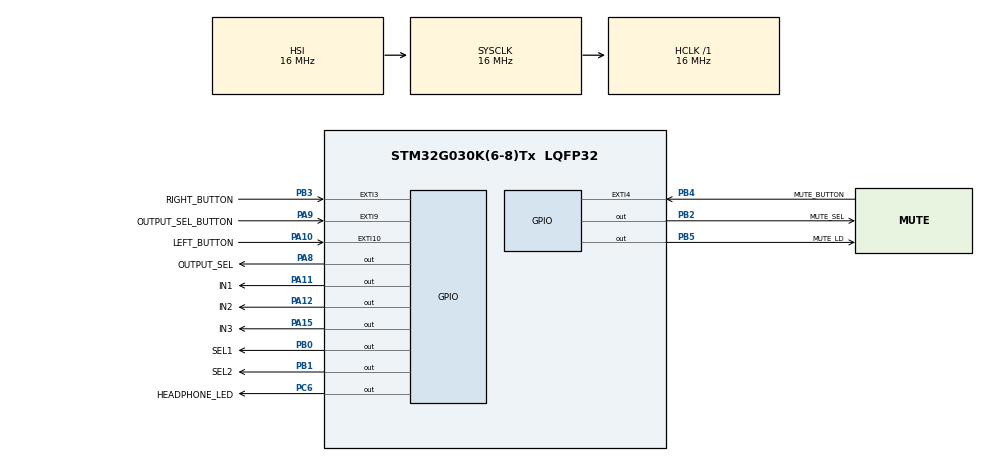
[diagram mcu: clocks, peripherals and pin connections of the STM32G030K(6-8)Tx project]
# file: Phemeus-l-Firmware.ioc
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Mcu.Family=STM32G0
Mcu.Name=STM32G030K(6-8)Tx
Mcu.Package=LQFP32
NVIC.EXTI2_3_IRQn=true\:0\:0\:false\:false\:true\:true\:true\:true
NVIC.EXTI4_15_IRQn=true\:0\:0\:false\:false\:true\:true\:true\:true
PA10.GPIO_Label=LEFT_BUTTON
PA10.GPIO_ModeDefaultEXTI=GPIO_MODE_IT_FALLING
PA10.GPIO_PuPd=GPIO_PULLUP
PA10.Signal=GPXTI10
PA11\ [PA9].GPIO_Label=IN1
PA11\ [PA9].Signal=GPIO_Output
PA12\ [PA10].GPIO_Label=IN2
PA12\ [PA10].Signal=GPIO_Output
PA13.Mode=Serial_Wire
PA13.Signal=SYS_SWDIO
PA14-BOOT0.Mode=Serial_Wire
PA14-BOOT0.Signal=SYS_SWCLK
PA15.GPIO_Label=IN3
PA15.Signal=GPIO_Output
PA8.GPIO_Label=OUTPUT_SEL
PA8.Signal=GPIO_Output
PA9.GPIO_Label=OUTPUT_SEL_BUTTON
PA9.GPIO_ModeDefaultEXTI=GPIO_MODE_IT_FALLING
PA9.GPIO_PuPd=GPIO_PULLUP
PA9.Signal=GPXTI9
PB0.GPIO_Label=SEL1
PB0.Signal=GPIO_Output
PB1.GPIO_Label=SEL2
PB1.Signal=GPIO_Output
PB2.GPIO_Label=MUTE_SEL
PB2.Signal=GPIO_Output
PB3.GPIO_Label=RIGHT_BUTTON
PB3.GPIO_ModeDefaultEXTI=GPIO_MODE_IT_FALLING
PB3.GPIO_PuPd=GPIO_PULLUP
PB3.Signal=GPXTI3
PB4.GPIO_Label=MUTE_BUTTON
PB4.GPIO_ModeDefaultEXTI=GPIO_MODE_IT_FALLING
PB4.GPIO_PuPd=GPIO_PULLUP
PB4.Signal=GPXTI4
PB5.GPIO_Label=MUTE_LD
PB5.Signal=GPIO_Output
PC6.GPIO_Label=HEADPHONE_LED
PC6.Signal=GPIO_Output
ProjectManager.HeapSize=0x200
ProjectManager.StackSize=0x400
ProjectManager.TargetToolchain=STM32CubeIDE
RCC.AHBFreq_Value=16000000
RCC.CortexFreq_Value=16000000
RCC.EXTERNAL_CLOCK_VALUE=12288000
RCC.HCLKFreq_Value=16000000
RCC.HSE_VALUE=8000000
RCC.HSI_VALUE=16000000
RCC.LSE_VALUE=32768
RCC.SYSCLKFreq_VALUE=16000000
RCC.VCOOutputFreq_Value=128000000
board=custom

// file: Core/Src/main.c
/* USER CODE BEGIN Header */
/**
  ******************************************************************************
  * @file           : main.c
  * @brief          : Main program body
  ******************************************************************************
  * @attention
  *
  * Copyright (c) 2024 STMicroelectronics.
  * All rights reserved.
  *
  * This software is licensed under terms that can be found in the LICENSE file
  * in the root directory of this software component.
  * If no LICENSE file comes with this software, it is provided AS-IS.
  *
  ******************************************************************************
  */
/* USER CODE END Header */
#include "main.h"

void SystemClock_Config(void);
static void MX_GPIO_Init(void);
/* USER CODE BEGIN PFP */
void set_input();
void set_output();
void set_mute();
void get_setting_from_flash();
void save_setting_to_flash();
/* USER CODE END PFP */

/* USER CODE BEGIN 0 */
uint8_t output, mute, init, change= 0;
uint8_t input = 1;

/* USER CODE END 0 */

int main(void)
{

  /* MCU Configuration--------------------------------------------------------*/

  /* Reset of all peripherals, Initializes the Flash interface and the Systick. */
  HAL_Init();

  /* Configure the system clock */
  SystemClock_Config();

  /* Initialize all configured peripherals */
  MX_GPIO_Init();
  /* USER CODE BEGIN 2 */
  // Soft start relay delay
  HAL_GPIO_WritePin(MUTE_LD_GPIO_Port, MUTE_LD_Pin, GPIO_PIN_SET);
  HAL_Delay(5000);
  HAL_GPIO_WritePin(MUTE_LD_GPIO_Port, MUTE_LD_Pin, GPIO_PIN_RESET);
  HAL_GPIO_WritePin(MUTE_SEL_GPIO_Port, MUTE_SEL_Pin, GPIO_PIN_SET);
  get_setting_from_flash();
  set_input();
  set_output();

  init = 1;
  /* USER CODE END 2 */

  /* Infinite loop */
  while (1)
  {

    /* USER CODE BEGIN 3 */
	  if (change == 1){
		  HAL_Delay(250);
		  change = 0;
	  }
  }
  /* USER CODE END 3 */
}

void SystemClock_Config(void)
{
  RCC_OscInitTypeDef RCC_OscInitStruct = {0};
  RCC_ClkInitTypeDef RCC_ClkInitStruct = {0};

  /** Configure the main internal regulator output voltage
  */
  HAL_PWREx_ControlVoltageScaling(PWR_REGULATOR_VOLTAGE_SCALE1);

  /** Initializes the RCC Oscillators according to the specified parameters
  * in the RCC_OscInitTypeDef structure.
  */
  RCC_OscInitStruct.OscillatorType = RCC_OSCILLATORTYPE_HSI;
  RCC_OscInitStruct.HSIState = RCC_HSI_ON;
  RCC_OscInitStruct.HSIDiv = RCC_HSI_DIV1;
  RCC_OscInitStruct.HSICalibrationValue = RCC_HSICALIBRATION_DEFAULT;
  RCC_OscInitStruct.PLL.PLLState = RCC_PLL_NONE;
  if (HAL_RCC_OscConfig(&RCC_OscInitStruct) != HAL_OK)
  {
    Error_Handler();
  }

  /** Initializes the CPU, AHB and APB buses clocks
  */
  RCC_ClkInitStruct.ClockType = RCC_CLOCKTYPE_HCLK|RCC_CLOCKTYPE_SYSCLK
                              |RCC_CLOCKTYPE_PCLK1;
  RCC_ClkInitStruct.SYSCLKSource = RCC_SYSCLKSOURCE_HSI;
  RCC_ClkInitStruct.AHBCLKDivider = RCC_SYSCLK_DIV1;
  RCC_ClkInitStruct.APB1CLKDivider = RCC_HCLK_DIV1;

  if (HAL_RCC_ClockConfig(&RCC_ClkInitStruct, FLASH_LATENCY_0) != HAL_OK)
  {
    Error_Handler();
  }
}

static void MX_GPIO_Init(void)
{
  GPIO_InitTypeDef GPIO_InitStruct = {0};

  /* GPIO Ports Clock Enable */
  __HAL_RCC_GPIOB_CLK_ENABLE();
  __HAL_RCC_GPIOA_CLK_ENABLE();
  __HAL_RCC_GPIOC_CLK_ENABLE();

  /*Configure GPIO pin Output Level */
  HAL_GPIO_WritePin(GPIOB, SEL1_Pin|SEL2_Pin|MUTE_SEL_Pin|MUTE_LD_Pin, GPIO_PIN_RESET);

  /*Configure GPIO pin Output Level */
  HAL_GPIO_WritePin(GPIOA, OUTPUT_SEL_Pin|IN1_Pin|IN2_Pin|IN3_Pin, GPIO_PIN_RESET);

  /*Configure GPIO pin Output Level */
  HAL_GPIO_WritePin(HEADPHONE_LED_GPIO_Port, HEADPHONE_LED_Pin, GPIO_PIN_RESET);

  /*Configure GPIO pins : SEL1_Pin SEL2_Pin MUTE_SEL_Pin MUTE_LD_Pin */
  GPIO_InitStruct.Pin = SEL1_Pin|SEL2_Pin|MUTE_SEL_Pin|MUTE_LD_Pin;
  GPIO_InitStruct.Mode = GPIO_MODE_OUTPUT_PP;
  GPIO_InitStruct.Pull = GPIO_NOPULL;
  GPIO_InitStruct.Speed = GPIO_SPEED_FREQ_LOW;
  HAL_GPIO_Init(GPIOB, &GPIO_InitStruct);

  /*Configure GPIO pins : OUTPUT_SEL_Pin IN1_Pin IN2_Pin IN3_Pin */
  GPIO_InitStruct.Pin = OUTPUT_SEL_Pin|IN1_Pin|IN2_Pin|IN3_Pin;
  GPIO_InitStruct.Mode = GPIO_MODE_OUTPUT_PP;
  GPIO_InitStruct.Pull = GPIO_NOPULL;
  GPIO_InitStruct.Speed = GPIO_SPEED_FREQ_LOW;
  HAL_GPIO_Init(GPIOA, &GPIO_InitStruct);

  /*Configure GPIO pins : OUTPUT_SEL_BUTTON_Pin LEFT_BUTTON_Pin */
  GPIO_InitStruct.Pin = OUTPUT_SEL_BUTTON_Pin|LEFT_BUTTON_Pin;
  GPIO_InitStruct.Mode = GPIO_MODE_IT_FALLING;
  GPIO_InitStruct.Pull = GPIO_PULLUP;
  HAL_GPIO_Init(GPIOA, &GPIO_InitStruct);

  /*Configure GPIO pin : HEADPHONE_LED_Pin */
  GPIO_InitStruct.Pin = HEADPHONE_LED_Pin;
  GPIO_InitStruct.Mode = GPIO_MODE_OUTPUT_PP;
  GPIO_InitStruct.Pull = GPIO_NOPULL;
  GPIO_InitStruct.Speed = GPIO_SPEED_FREQ_LOW;
  HAL_GPIO_Init(HEADPHONE_LED_GPIO_Port, &GPIO_InitStruct);

  /*Configure GPIO pins : RIGHT_BUTTON_Pin MUTE_BUTTON_Pin */
  GPIO_InitStruct.Pin = RIGHT_BUTTON_Pin|MUTE_BUTTON_Pin;
  GPIO_InitStruct.Mode = GPIO_MODE_IT_FALLING;
  GPIO_InitStruct.Pull = GPIO_PULLUP;
  HAL_GPIO_Init(GPIOB, &GPIO_InitStruct);

  /* EXTI interrupt init*/
  HAL_NVIC_SetPriority(EXTI2_3_IRQn, 0, 0);
  HAL_NVIC_EnableIRQ(EXTI2_3_IRQn);

  HAL_NVIC_SetPriority(EXTI4_15_IRQn, 0, 0);
  HAL_NVIC_EnableIRQ(EXTI4_15_IRQn);

}

/* USER CODE BEGIN 4 */
void HAL_GPIO_EXTI_Falling_Callback(uint16_t GPIO_Pin)
{
	if (init == 0 || change == 1){
		return;
	}

	change = 1;
	if (GPIO_Pin == LEFT_BUTTON_Pin)
	{
		input--;
		if (input == 0)
		{
			input = 3;
		}
		set_input();
	}
	else if (GPIO_Pin == RIGHT_BUTTON_Pin)
		{
			input++;
			if (input == 4)
			{
				input = 1;
			}
			set_input();
		}

	else if (GPIO_Pin == MUTE_BUTTON_Pin)
	{
		if (mute == 0){
			mute = 1;
		}

		else
		{
			mute = 0;
		}
		set_mute();
	}

	else if  (GPIO_Pin == OUTPUT_SEL_BUTTON_Pin)
	{
		if (output == 0)
		{
			output = 1;
		}
		else
		{
			output = 0;
		}
		set_output();
	}

}

void set_input()
{

	HAL_GPIO_WritePin(GPIOA, IN1_Pin|IN2_Pin|IN3_Pin, GPIO_PIN_RESET);
	HAL_GPIO_WritePin(GPIOB, SEL1_Pin|SEL2_Pin, GPIO_PIN_RESET);
	if (input == 1)
	{
		HAL_GPIO_WritePin(GPIOA, IN1_Pin, GPIO_PIN_SET);

	}
	else if (input == 2)
	{
		HAL_GPIO_WritePin(GPIOA, IN2_Pin, GPIO_PIN_SET);
		HAL_GPIO_WritePin(GPIOB, SEL1_Pin, GPIO_PIN_SET);
	}
	else if (input == 3)
	{
		HAL_GPIO_WritePin(GPIOA, IN3_Pin, GPIO_PIN_SET);
		HAL_GPIO_WritePin(GPIOB,SEL1_Pin | SEL2_Pin, GPIO_PIN_SET);
	}

	if ( init == 1)
	{
		save_setting_to_flash();
	}

}

void set_mute()
{
	if (mute == 0)
	{
		  HAL_GPIO_WritePin(MUTE_SEL_GPIO_Port, MUTE_SEL_Pin, GPIO_PIN_SET);
		  HAL_GPIO_WritePin(MUTE_LD_GPIO_Port, MUTE_LD_Pin, GPIO_PIN_RESET);

	}
	else
	{
		  HAL_GPIO_WritePin(MUTE_SEL_GPIO_Port, MUTE_SEL_Pin, GPIO_PIN_RESET);
		  HAL_GPIO_WritePin(MUTE_LD_GPIO_Port, MUTE_LD_Pin, GPIO_PIN_SET);
	}

}

void set_output()
{
	if (output == 0)
	{
		  HAL_GPIO_WritePin(OUTPUT_SEL_GPIO_Port, OUTPUT_SEL_Pin, GPIO_PIN_RESET);
		  HAL_GPIO_WritePin(HEADPHONE_LED_GPIO_Port, HEADPHONE_LED_Pin, GPIO_PIN_RESET);

	}
	else
	{
		  HAL_GPIO_WritePin(OUTPUT_SEL_GPIO_Port, OUTPUT_SEL_Pin, GPIO_PIN_SET);
		  HAL_GPIO_WritePin(HEADPHONE_LED_GPIO_Port, HEADPHONE_LED_Pin, GPIO_PIN_SET);
	}
	if ( init == 1)
	{
		save_setting_to_flash();
	}
}

void get_setting_from_flash()
{
	uint64_t *data_address = (uint64_t*) 0x08007800;
	uint64_t flash_data = 0;
	uint16_t tmp_out = 0;

	flash_data = *data_address;
	input = flash_data & 0x3;
	tmp_out = flash_data & 0x100;

	tmp_out = tmp_out >>8;

	output = tmp_out;
}

void erase_flash()
{
	FLASH_EraseInitTypeDef erase_struct;
	uint32_t err = 0;

	erase_struct.TypeErase = FLASH_TYPEERASE_PAGES;
	erase_struct.Banks = FLASH_BANK_1;
	erase_struct.NbPages = 1;
	erase_struct.Page = 15;

	HAL_FLASH_Unlock();
	HAL_FLASHEx_Erase(&erase_struct, &err);
	HAL_FLASH_Lock();

}
void save_setting_to_flash()
{
	erase_flash();

	// first byte is input second byte is output
	uint64_t data = 0;
	uint32_t address = 0x08007800;
	uint16_t tmp_out = output;
	tmp_out = tmp_out << 8;

	data = input;
	data = data | tmp_out;

	HAL_FLASH_Unlock();
	HAL_FLASH_Program(FLASH_TYPEPROGRAM_DOUBLEWORD, address, data);
	HAL_FLASH_Lock();
}

/* USER CODE END 4 */

void Error_Handler(void)
{
  __disable_irq();
  while (1)
  {
  }
}
